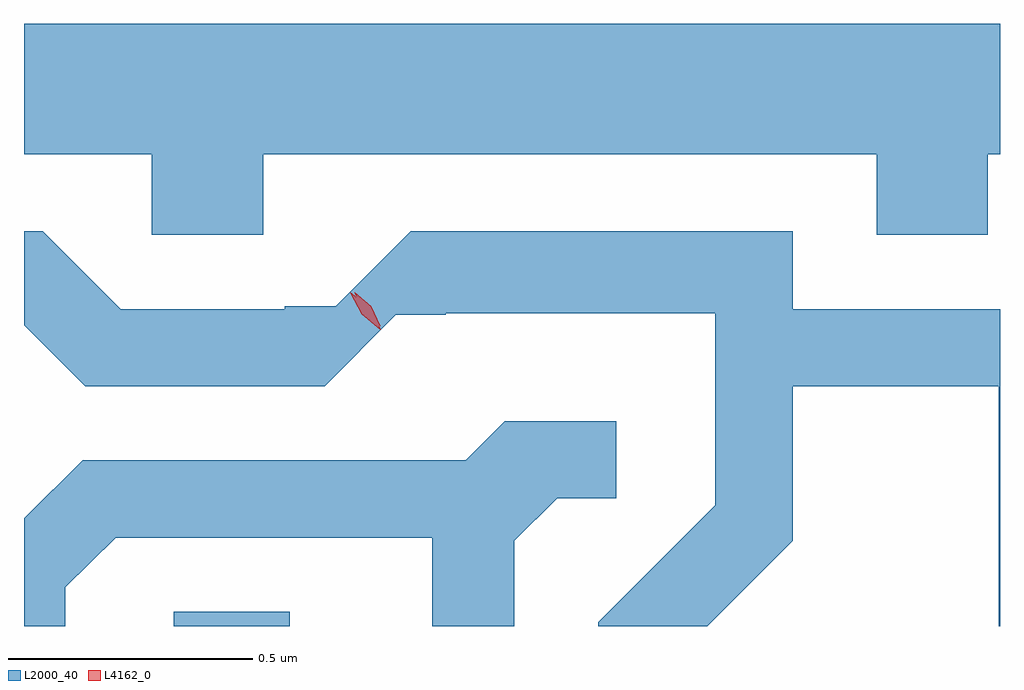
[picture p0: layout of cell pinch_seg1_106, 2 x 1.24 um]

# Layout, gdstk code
import gdstk
lib = gdstk.Library(unit=1e-6, precision=1e-09)
def R(c, l, rs):  # rectangles x0, y0, x1, y1
    for r in rs: c.add(gdstk.rectangle(r[:2], r[2:], *l))
def P(c, l, *ps):  # polygons
    for p in ps: c.add(gdstk.Polygon(p, *l))
L2000_40 = (2000, 40)
L4162_0 = (4162, 0)

pinch_seg1_106 = lib.new_cell('pinch_seg1_106')
R(pinch_seg1_106, L2000_40, [(224.011,900.829,224.249,900.859)])
P(pinch_seg1_106, L2000_40, [(224.194,901.796),(225.451,901.796),(225.451,901.631),(225.679,901.631),(225.679,901.796),(225.704,901.796),(225.704,902.064),(223.704,902.064),(223.704,901.796),(223.966,901.796),(223.966,901.631),(224.194,901.631)],
  [(225.279,901.004),(225.279,901.321),(225.701,901.321),(225.701,900.829),(225.704,900.829),(225.704,901.479),(225.279,901.479),(225.279,901.639),(224.497,901.639),(224.343,901.485),(224.238,901.485),(224.238,901.479),(223.902,901.479),(223.742,901.639),(223.704,901.639),(223.704,901.446),(223.829,901.321),(224.32,901.321),(224.466,901.468),(224.568,901.468),(224.568,901.471),(225.121,901.471),(225.121,901.077),(224.881,900.837),(224.881,900.829),(225.104,900.829)],
  [(223.789,900.909),(223.892,901.011),(224.541,901.011),(224.541,900.829),(224.709,900.829),(224.709,901.004),(224.797,901.091),(224.918,901.091),(224.918,901.249),(224.689,901.249),(224.609,901.169),(223.824,901.169),(223.704,901.05),(223.704,900.829),(223.789,900.829)])
P(pinch_seg1_106, L4162_0, [(224.434,901.437),(224.396,901.469),(224.373,901.513),(224.373,901.514),(224.373,901.514),(224.412,901.482),(224.435,901.438),(224.435,901.437)],
  [(224.434,901.444),(224.4,901.473),(224.382,901.513),(224.382,901.514),(224.382,901.514),(224.416,901.485),(224.434,901.445),(224.434,901.444)])

lib.write_gds('pinch_seg1_106.gds')
